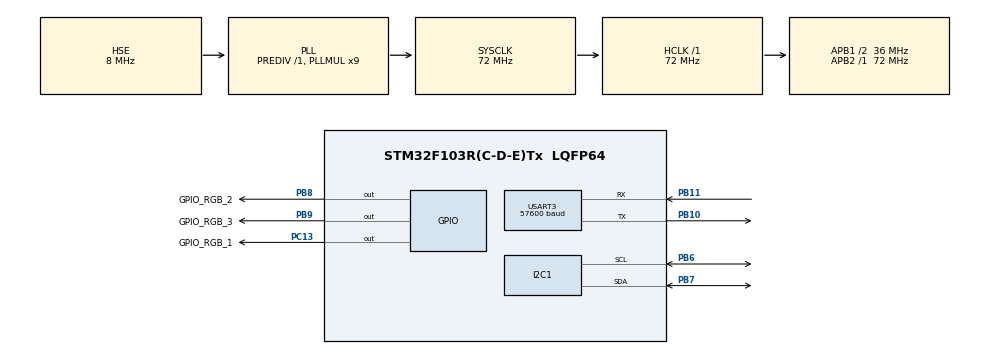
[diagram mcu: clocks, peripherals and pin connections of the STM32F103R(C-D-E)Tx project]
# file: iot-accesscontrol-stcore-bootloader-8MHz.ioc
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Mcu.Family=STM32F1
Mcu.Name=STM32F103R(C-D-E)Tx
Mcu.Package=LQFP64
NVIC.PriorityGroup=NVIC_PRIORITYGROUP_4
PA13.Mode=Serial_Wire
PA13.Signal=SYS_JTMS-SWDIO
PA14.Mode=Serial_Wire
PA14.Signal=SYS_JTCK-SWCLK
PB10.Mode=Asynchronous
PB10.Signal=USART3_TX
PB11.Mode=Asynchronous
PB11.Signal=USART3_RX
PB6.Mode=I2C
PB6.Signal=I2C1_SCL
PB7.Mode=I2C
PB7.Signal=I2C1_SDA
PB8.GPIO_Label=GPIO_RGB_2
PB8.GPIO_PuPd=GPIO_PULLUP
PB8.PinState=GPIO_PIN_SET
PB8.Signal=GPIO_Output
PB9.GPIO_Label=GPIO_RGB_3
PB9.GPIO_ModeDefaultOutputPP=GPIO_MODE_OUTPUT_PP
PB9.GPIO_PuPd=GPIO_PULLUP
PB9.PinState=GPIO_PIN_SET
PB9.Signal=GPIO_Output
PC13-TAMPER-RTC.GPIO_Label=GPIO_RGB_1
PC13-TAMPER-RTC.GPIO_PuPd=GPIO_PULLUP
PC13-TAMPER-RTC.PinState=GPIO_PIN_SET
PC13-TAMPER-RTC.Signal=GPIO_Output
PD0-OSC_IN.Mode=HSE-External-Oscillator
PD0-OSC_IN.Signal=RCC_OSC_IN
PD1-OSC_OUT.Mode=HSE-External-Oscillator
PD1-OSC_OUT.Signal=RCC_OSC_OUT
ProjectManager.HeapSize=0x200
ProjectManager.StackSize=0x400
ProjectManager.TargetToolchain=STM32CubeIDE
RCC.AHBFreq_Value=72000000
RCC.APB1CLKDivider=RCC_HCLK_DIV2
RCC.APB1Freq_Value=36000000
RCC.APB1TimFreq_Value=72000000
RCC.APB2Freq_Value=72000000
RCC.APB2TimFreq_Value=72000000
RCC.HCLKFreq_Value=72000000
RCC.PLLMUL=RCC_PLL_MUL9
RCC.PLLSourceVirtual=RCC_PLLSOURCE_HSE
RCC.SYSCLKFreq_VALUE=72000000
RCC.SYSCLKSource=RCC_SYSCLKSOURCE_PLLCLK
RCC.USBFreq_Value=72000000
USART3.BaudRate=57600
USART3.Parity=PARITY_NONE
USART3.StopBits=STOPBITS_1
USART3.VirtualMode=VM_ASYNC
USART3.WordLength=WORDLENGTH_8B
board=custom

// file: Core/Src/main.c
/* USER CODE BEGIN Header */
/**
  ******************************************************************************
  * @file           : main.c
  * @brief          : Main program body
  ******************************************************************************
  * @attention
  *
  * Copyright (c) 2023 STMicroelectronics.
  * All rights reserved.
  *
  * This software is licensed under terms that can be found in the LICENSE file
  * in the root directory of this software component.
  * If no LICENSE file comes with this software, it is provided AS-IS.
  *
  ******************************************************************************
  */
/* USER CODE END Header */
#include "main.h"
#include "i2c.h"
#include "usart.h"
#include "gpio.h"

/* USER CODE BEGIN Includes */
#include <stdio.h>
#include <string.h>
#include <stdbool.h>
#include <core_cm3.h>
/* USER CODE END Includes */

/* USER CODE BEGIN PD */
#define FOTA_DONE                          	2
#define FOTA_START                          1
#define FOTA_STOP                           0
#define FOTA_ROW_SIZE                       42 // ??????????????????????????
// external e2prom
#define EE2_1_CHIP_ADDR                     0x56 << 1
#define EE2_2_CHIP_ADDR                     0x50

#define	EE2_METADATA_START_ADDRESS			0
#define	IE2_Loc_FOTA_ROW_START				0x08040400

#define EE2_Loc_Reset_Status             	(EE2_METADATA_START_ADDRESS + 38)
#define EE2_Loc_Reset_Code_Address         	(EE2_METADATA_START_ADDRESS + 39)

// FOTA METADATA
#define EE2_Loc_FOTA_STATUS                 (EE2_METADATA_START_ADDRESS + 20)
#define EE2_Loc_FOTA_CRC_BYTE0              (EE2_METADATA_START_ADDRESS + 21)
#define EE2_Loc_FOTA_CRC_BYTE1              (EE2_METADATA_START_ADDRESS + 22)
#define EE2_Loc_FOTA_CRC_BYTE2              (EE2_METADATA_START_ADDRESS + 23)
#define EE2_Loc_FOTA_CRC_BYTE3              (EE2_METADATA_START_ADDRESS + 24)
#define EE2_Loc_FOTA_App_SIZE_BYTE0         (EE2_METADATA_START_ADDRESS + 25)
#define EE2_Loc_FOTA_App_SIZE_BYTE1         (EE2_METADATA_START_ADDRESS + 26)
#define EE2_Loc_FOTA_App_SIZE_BYTE2         (EE2_METADATA_START_ADDRESS + 27)
#define EE2_Loc_FOTA_App_SIZE_BYTE3         (EE2_METADATA_START_ADDRESS + 28)
#define EE2_Loc_FOTA_ROW_START              (EE2_METADATA_START_ADDRESS + 29)

#define MAX_BLOCK_SIZE          			( 1024 )                  //1KB
#define ETX_APP_START_ADDRESS   			0x08008800	// ORIGINAL
//#define ETX_APP_START_ADDRESS   			0x08040400	// TEST

/* USER CODE END PD */

/* USER CODE BEGIN PV */
//uint8_t BL_Version[2] = { MAJOR, MINOR };
uint32_t App_Size = 0;
/* USER CODE END PV */

void SystemClock_Config(void);
/* USER CODE BEGIN PFP */
void update_firmware();
static void jump_to_app(uint8_t flag);
/* USER CODE END PFP */

/* USER CODE BEGIN 0 */
void usb_debug_print(char* msg, uint8_t state)
{
	HAL_UART_Transmit(&huart3,(const uint8_t*)(msg), strlen((const char*)(msg)), 500);

	return;
}

HAL_StatusTypeDef ee2_read_byte(uint8_t chipAddr, uint8_t* byte, uint16_t addr)
{
	HAL_StatusTypeDef status = HAL_ERROR;
	uint16_t i = 0;

	while(status != HAL_OK && i < 1000){
		status = HAL_I2C_Mem_Read(&hi2c1, chipAddr, addr, 2, byte, 1, 500);
		if(status != HAL_OK){
			usb_debug_print("ee2_readByte: HAL_I2C_Mem_Read: status != HAL_OK\r\n", 0);
		}
		i++;
//		HAL_IWDG_Refresh(&hiwdg);
	}

    return status;
}

HAL_StatusTypeDef ee2_write_byte(uint8_t chipAddr, uint8_t byte, uint16_t addr)
{
	HAL_StatusTypeDef status = HAL_ERROR;
	uint16_t i = 0;

	while(status != HAL_OK && i < 200){
		status = HAL_I2C_IsDeviceReady(&hi2c1, chipAddr, 0x00000001, 500);

		if(status == HAL_OK){
			status = HAL_ERROR;
			status = HAL_I2C_Mem_Write(&hi2c1, chipAddr, addr, 2, &byte, 1, 500);  // write the data to the EEPROM
			if(status != HAL_OK){
				usb_debug_print("ee2_writeByte:  HAL_I2C_Mem_Write: status != HAL_OK\r\n", 0);
			}
			HAL_Delay(5);   // delay for writing data
		}

		i++;
//		HAL_IWDG_Refresh(&hiwdg);
	}

    return status;
}

// !!!!!!!!!!!!!!!!!!!!!!!!!!!!!!!!!! use INTERNAL FLASH as Internal EEPROM
HAL_StatusTypeDef internal_flash_write_WORD(uint32_t Flash_Address, uint32_t data){
	HAL_StatusTypeDef internal_flash_ret = HAL_ERROR;
	internal_flash_ret = HAL_FLASH_Program(FLASH_TYPEPROGRAM_WORD, Flash_Address, (uint64_t)data);

    return internal_flash_ret;
}

uint16_t internal_flash_read_HALFWORD(uint32_t Flash_Address){
	__IO uint32_t read_data = *(__IO uint32_t *)Flash_Address;

	return (uint16_t)read_data;
}

// SOURCE: https://stackoverflow.com/questions/34196663/stm32-how-to-get-last-reset-status
typedef enum reset_cause_e
{
    RESET_CAUSE_UNKNOWN = 0,
    RESET_CAUSE_LOW_POWER_RESET,
    RESET_CAUSE_WINDOW_WATCHDOG_RESET,
    RESET_CAUSE_INDEPENDENT_WATCHDOG_RESET,
    RESET_CAUSE_SOFTWARE_RESET,
    RESET_CAUSE_POWER_ON_POWER_DOWN_RESET,
    RESET_CAUSE_EXTERNAL_RESET_PIN_RESET
    //RESET_CAUSE_BROWNOUT_RESET,
} reset_cause_t;

/// @brief      Obtain the STM32 system reset cause
/// @param      None
/// @return     The system reset cause
reset_cause_t reset_cause_get(void)
{
    reset_cause_t reset_cause;

    if (__HAL_RCC_GET_FLAG(RCC_FLAG_LPWRRST))
    {
        reset_cause = RESET_CAUSE_LOW_POWER_RESET;
    }
    else if (__HAL_RCC_GET_FLAG(RCC_FLAG_WWDGRST))
    {
        reset_cause = RESET_CAUSE_WINDOW_WATCHDOG_RESET;
    }
    else if (__HAL_RCC_GET_FLAG(RCC_FLAG_IWDGRST))
    {
        reset_cause = RESET_CAUSE_INDEPENDENT_WATCHDOG_RESET;
    }
    else if (__HAL_RCC_GET_FLAG(RCC_FLAG_SFTRST))
    {
        // This reset is induced by calling the ARM CMSIS
        // `NVIC_SystemReset()` function!
        reset_cause = RESET_CAUSE_SOFTWARE_RESET;
    }
    else if (__HAL_RCC_GET_FLAG(RCC_FLAG_PORRST))
    {
        reset_cause = RESET_CAUSE_POWER_ON_POWER_DOWN_RESET;
    }
    else if (__HAL_RCC_GET_FLAG(RCC_FLAG_PINRST))
    {
        reset_cause = RESET_CAUSE_EXTERNAL_RESET_PIN_RESET;
    }
    // Needs to come *after* checking the `RCC_FLAG_PORRST` flag in order to
    // ensure first that the reset cause is NOT a POR/PDR reset. See note
    // below.
//    else if (__HAL_RCC_GET_FLAG(RCC_FLAG_BORRST))
//    {
//        reset_cause = RESET_CAUSE_BROWNOUT_RESET;
//    }
    else
    {
        reset_cause = RESET_CAUSE_UNKNOWN;
    }

    // Clear all the reset flags or else they will remain set during future
    // resets until system power is fully removed.
    __HAL_RCC_CLEAR_RESET_FLAGS();

    return reset_cause;
}

// Note: any of the STM32 Hardware Abstraction Layer (HAL) Reset and Clock
// Controller (RCC) header files, such as
// "STM32Cube_FW_F7_V1.12.0/Drivers/STM32F7xx_HAL_Driver/Inc/stm32f7xx_hal_rcc.h",
// "STM32Cube_FW_F2_V1.7.0/Drivers/STM32F2xx_HAL_Driver/Inc/stm32f2xx_hal_rcc.h",
// etc., indicate that the brownout flag, `RCC_FLAG_BORRST`, will be set in
// the event of a "POR/PDR or BOR reset". This means that a Power-On Reset
// (POR), Power-Down Reset (PDR), OR Brownout Reset (BOR) will trip this flag.
// See the doxygen just above their definition for the
// `__HAL_RCC_GET_FLAG()` macro to see this:
//      "@arg RCC_FLAG_BORRST: POR/PDR or BOR reset." <== indicates the Brownout
//      Reset flag will *also* be set in the event of a POR/PDR.
// Therefore, you must check the Brownout Reset flag, `RCC_FLAG_BORRST`, *after*
// first checking the `RCC_FLAG_PORRST` flag in order to ensure first that the
// reset cause is NOT a POR/PDR reset.

/// @brief      Obtain the system reset cause as an ASCII-printable name string
///             from a reset cause type
/// @param[in]  reset_cause     The previously-obtained system reset cause
/// @return     A null-terminated ASCII name string describing the system
///             reset cause
uint8_t cm_reset_flag = 0;
const char * reset_cause_get_name(reset_cause_t reset_cause)
{
    const char * reset_cause_name = "TBD";

    switch (reset_cause)
    {
        case RESET_CAUSE_UNKNOWN:
            reset_cause_name = "UNKNOWN";
            cm_reset_flag = 0;
            break;
        case RESET_CAUSE_LOW_POWER_RESET:
            reset_cause_name = "LOW_POWER_RESET";
            cm_reset_flag = 1;
            break;
        case RESET_CAUSE_WINDOW_WATCHDOG_RESET:
            reset_cause_name = "WINDOW_WATCHDOG_RESET";
            cm_reset_flag = 2;
            break;
        case RESET_CAUSE_INDEPENDENT_WATCHDOG_RESET:
            reset_cause_name = "INDEPENDENT_WATCHDOG_RESET";
            cm_reset_flag = 3;
            break;
        case RESET_CAUSE_SOFTWARE_RESET:
            reset_cause_name = "SOFTWARE_RESET";
            cm_reset_flag = 4;
            break;
        case RESET_CAUSE_POWER_ON_POWER_DOWN_RESET:
            reset_cause_name = "POWER-ON_RESET (POR) / POWER-DOWN_RESET (PDR)";
            cm_reset_flag = 5;
            break;
        case RESET_CAUSE_EXTERNAL_RESET_PIN_RESET:
            reset_cause_name = "EXTERNAL_RESET_PIN_RESET";
            cm_reset_flag = 6;
            break;
//        case RESET_CAUSE_BROWNOUT_RESET:
//            reset_cause_name = "BROWNOUT_RESET (BOR)";
//            cm_reset_flag = 7;
//            break;
    }

    return reset_cause_name;
}
// !!!!!!!!!!!!!!!!!!!!!!!!!!!!!!!!!! use INTERNAL FLASH as Internal EEPROM

/* USER CODE END 0 */

int main(void)
{

  /* MCU Configuration--------------------------------------------------------*/

  /* Reset of all peripherals, Initializes the Flash interface and the Systick. */
  HAL_Init();

  /* Configure the system clock */
  SystemClock_Config();

  /* Initialize all configured peripherals */
  MX_GPIO_Init();
  MX_I2C1_Init();
  MX_USART3_UART_Init();
  /* USER CODE BEGIN 2 */
//  __HAL_AFIO_REMAP_SWJ_NOJTAG(); // FYI : fix inp_2 problem
  __enable_irq();

//  HAL_Delay(5);
  usb_debug_print("\r\n##################################### START BOOTLOADER 57600 #####################################\r\n", 0);

//  reset_cause_t reset_cause = reset_cause_get();
//  char buf[64];
//  sprintf(buf, "CHIP RESET CAUSE >> ");
//  strcat(buf, "\"");
//  strcat(buf, reset_cause_get_name(reset_cause));
//  strcat(buf, "\"\r\n");
//  usb_debug_print(buf, 0);
////
//  ee2_write_byte(EE2_1_CHIP_ADDR, cm_reset_flag, EE2_Loc_Reset_Status);
////
  update_firmware();
//  jump_to_app(0);
  /* USER CODE END 2 */

  /* Infinite loop */
  /* USER CODE BEGIN WHILE */
  while (1)
  {
	  usb_debug_print(">> BootLoader failed >>\r\n", 0);
	  HAL_Delay(1000);
    /* USER CODE END WHILE */

  }
}

void SystemClock_Config(void)
{
  RCC_OscInitTypeDef RCC_OscInitStruct = {0};
  RCC_ClkInitTypeDef RCC_ClkInitStruct = {0};

  /** Initializes the RCC Oscillators according to the specified parameters
  * in the RCC_OscInitTypeDef structure.
  */
  RCC_OscInitStruct.OscillatorType = RCC_OSCILLATORTYPE_HSE;
  RCC_OscInitStruct.HSEState = RCC_HSE_ON;
  RCC_OscInitStruct.HSEPredivValue = RCC_HSE_PREDIV_DIV1;
  RCC_OscInitStruct.HSIState = RCC_HSI_ON;
  RCC_OscInitStruct.PLL.PLLState = RCC_PLL_ON;
  RCC_OscInitStruct.PLL.PLLSource = RCC_PLLSOURCE_HSE;
  RCC_OscInitStruct.PLL.PLLMUL = RCC_PLL_MUL9;
  if (HAL_RCC_OscConfig(&RCC_OscInitStruct) != HAL_OK)
  {
    Error_Handler();
  }

  /** Initializes the CPU, AHB and APB buses clocks
  */
  RCC_ClkInitStruct.ClockType = RCC_CLOCKTYPE_HCLK|RCC_CLOCKTYPE_SYSCLK
                              |RCC_CLOCKTYPE_PCLK1|RCC_CLOCKTYPE_PCLK2;
  RCC_ClkInitStruct.SYSCLKSource = RCC_SYSCLKSOURCE_PLLCLK;
  RCC_ClkInitStruct.AHBCLKDivider = RCC_SYSCLK_DIV1;
  RCC_ClkInitStruct.APB1CLKDivider = RCC_HCLK_DIV2;
  RCC_ClkInitStruct.APB2CLKDivider = RCC_HCLK_DIV1;

  if (HAL_RCC_ClockConfig(&RCC_ClkInitStruct, FLASH_LATENCY_2) != HAL_OK)
  {
    Error_Handler();
  }
}

/* USER CODE BEGIN 4 */
void update_firmware()
{
//	ee2_writeByte(EE2_1_CHIP_ADDR, FOTA_START, EE2_Loc_FOTA_STATUS);
	/* ***************************** CHECK METADATA FROM External EEPROM ***************************** */
	uint8_t byte = 0;
	HAL_StatusTypeDef status = ee2_read_byte(EE2_1_CHIP_ADDR, &byte, EE2_Loc_FOTA_STATUS);

	uint8_t byte1 = 0;
	uint8_t byte2 = 0;
	uint8_t byte3 = 0;
	uint8_t byte4 = 0;

	HAL_StatusTypeDef s1 = ee2_read_byte(EE2_1_CHIP_ADDR, &byte1, EE2_Loc_FOTA_App_SIZE_BYTE3);
	HAL_StatusTypeDef s2 = ee2_read_byte(EE2_1_CHIP_ADDR, &byte2, EE2_Loc_FOTA_App_SIZE_BYTE2);
	HAL_StatusTypeDef s3 = ee2_read_byte(EE2_1_CHIP_ADDR, &byte3, EE2_Loc_FOTA_App_SIZE_BYTE1);
	HAL_StatusTypeDef s4 = ee2_read_byte(EE2_1_CHIP_ADDR, &byte4, EE2_Loc_FOTA_App_SIZE_BYTE0);

	unsigned int appSize = (uint32_t)byte1 << 24 | (uint32_t)byte2 << 16 | (uint32_t)byte3 << 8 | (uint32_t)byte4 << 0;
	/* ************************************************************************************************ */

	uint8_t fail = 0;

	if(status == HAL_OK && byte == FOTA_START && s1 == HAL_OK && s2 == HAL_OK && s3 == HAL_OK && s4 == HAL_OK){
		HAL_StatusTypeDef ret = HAL_FLASH_Unlock();
		if(ret != HAL_OK){
			usb_debug_print("############################ HAL_FLASH_Unlock >> FAILED! Please try again later...\r\n", 0);
			jump_to_app(0);
		}
		else{
			usb_debug_print("	*****	HAL_FLASH_Unlock >> OK	*****	\r\n", 0);

			usb_debug_print("	*****	Erasing Flash Memory...	*****	\r\n", 0);
			//Erase the Flash
			FLASH_EraseInitTypeDef EraseInitStruct;
			uint32_t SectorError;

			EraseInitStruct.TypeErase     = FLASH_TYPEERASE_PAGES;
			EraseInitStruct.PageAddress   = ETX_APP_START_ADDRESS;
			EraseInitStruct.NbPages       = 110;                     // from 0x08008800 to 0x08040000 (2k Pages)

			ret = HAL_FLASHEx_Erase( &EraseInitStruct, &SectorError );
			if( ret != HAL_OK ){
				usb_debug_print("	*****	Erasing Flash FAILED!	*****	\r\n", 0);
				jump_to_app(0);
			}
			else {
				usb_debug_print("	*****	Erasing Flash Done!	*****	\r\n", 0);
			}

			char buf[100];
			sprintf(buf, ">> Application size: %d\r\n", appSize);
			usb_debug_print(buf, 0);

			int flash_write_progress = 0;
			int percent = 0;
			int former_percent = 0;

			for (int var = 0; var < appSize; var += 4) {

				uint32_t four_bytes = internal_flash_read_HALFWORD(IE2_Loc_FOTA_ROW_START + ( var + 3 )) << 24
									| internal_flash_read_HALFWORD(IE2_Loc_FOTA_ROW_START + ( var + 2 )) << 16
									| internal_flash_read_HALFWORD(IE2_Loc_FOTA_ROW_START + ( var + 1 )) << 8
									| internal_flash_read_HALFWORD(IE2_Loc_FOTA_ROW_START + ( var + 0 )) << 0;

				ret = internal_flash_write_WORD(ETX_APP_START_ADDRESS + var, four_bytes);

				flash_write_progress++;

				percent = (((float)flash_write_progress) / appSize) * 100;
				if( percent % 5 == 0 && percent != former_percent){
					former_percent = percent;
					sprintf(buf, ">> Flash Writing Progress >> %d%% \r\n", (percent * 4));
					usb_debug_print(buf, 0);
				}

				if(ret != HAL_OK){
					usb_debug_print(">> FLASH_WRITE_NOT_OK!\r\n", 0);
					fail = 1;
					break;
				}
			}

			ret = HAL_FLASH_Lock();

			if(ret != HAL_OK){
				fail = 2;
			}
			else{
				usb_debug_print("	*****	HAL_FLASH_Lock => OK	*****	\r\n", 0);
			}

			if(fail == 0){
				ee2_write_byte(EE2_1_CHIP_ADDR, FOTA_STOP, EE2_Loc_FOTA_STATUS);
				ee2_write_byte(EE2_1_CHIP_ADDR, FOTA_DONE, EE2_Loc_Reset_Code_Address);
				usb_debug_print("############################ Programming FLASH finished successfully...\r\n", 0);
				jump_to_app(1);
			}
			else if(fail == 1){
//				ee2_write_byte(EE2_1_CHIP_ADDR, FOTA_STOP, EE2_Loc_FOTA_STATUS);
				usb_debug_print("############################ Programming FLASH FAILED! Error occurred in writing into the FLASH Memory\r\n", 0);
//				jump_to_app(0);
				HAL_Delay(1000);
				NVIC_SystemReset();
			}
			else if(fail == 2){
//				ee2_write_byte(EE2_1_CHIP_ADDR, FOTA_STOP, EE2_Loc_FOTA_STATUS);
				usb_debug_print("############################ Programming FLASH FAILED! Error occurred in Locking the FLASH Memory\r\n", 0);
//				jump_to_app(0);
				HAL_Delay(1000);
				NVIC_SystemReset();
			}
		}

	}
	else{
		usb_debug_print("############################ BOOTLOADER >> No New Program to write!\r\n", 0);
		jump_to_app(0);
	}

	return;
}

static void jump_to_app(uint8_t flag)
{
	if(flag){
		usb_debug_print("############################ Jumping to NEW Application\r\n", 0);
	}
	else{
		usb_debug_print("############################ Jumping to Application\r\n", 0);
	}
	char jump_address[100];
	sprintf(jump_address, "############################ JUMP ADDRESS >> %08lX\r\n", (long unsigned int)ETX_APP_START_ADDRESS);
	usb_debug_print(jump_address, 0);
	usb_debug_print("##################################### ENDOF BOOTLOADER #####################################\r\n", 0);

//	void (*app_reset_handler)(void) = (void*)(*((volatile uint32_t*)(ETX_APP_START_ADDRESS)));
//
//	__set_MSP(*(volatile uint32_t*) ETX_APP_START_ADDRESS);
//
//	// Turn OFF the Led to tell the user that Bootloader is not running
////	HAL_GPIO_WritePin(GPIOC, GPIO_PIN_13, GPIO_PIN_RESET );
//
//	app_reset_handler();    //call the app reset handler

//////////////////////////	CORRECT	////////////////////////////////////
	HAL_RCC_DeInit();

	__disable_irq();

	for (int i = 0; i < (sizeof(NVIC->ICPR) / sizeof(NVIC->ICPR[0])); i++) {
		NVIC_ClearPendingIRQ(i);
	}

	__set_CONTROL(0x00);

	typedef void (*jump_app)(void);

	volatile uint32_t *_vectable = (volatile uint32_t *)(__IO uint32_t*)(ETX_APP_START_ADDRESS);  // point _vectable to the start of the application at 0x08005000

	jump_app app_jump = (jump_app) *(_vectable + 1);   // get the address of the application's reset handler by loading the 2nd entry in the table

	SCB->VTOR = *_vectable;   // point VTOR to the start of the application's vector table

	__set_MSP(*_vectable);   // setup the initial stack pointer using the RAM address contained at the start of the vector table

	app_jump();   // call the application's reset handler

}
/* USER CODE END 4 */

void Error_Handler(void)
{
  __disable_irq();
  while (1)
  {
  }
}
